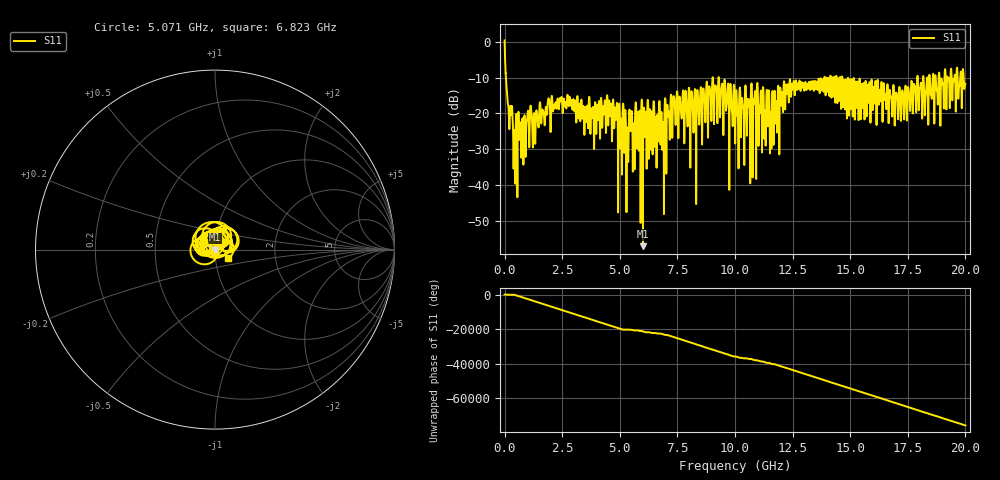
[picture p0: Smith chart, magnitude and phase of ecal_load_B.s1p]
! MS46122B
! 2250307/22442219
! 7/23/2025 7:46:51 AM
! C:\USERS\SPARKY\DOCUMENTS\VNA_DATA\JULY23_2025\3K\ECAL_LOAD_B.S1P
! CHANNEL.1
! TR.MEASUREMENT
! RAW.DATA
# GHZ S RI R 50.0
! FREQ.GHZ  S11RE  S11IM
!; PortSelection: Port_1
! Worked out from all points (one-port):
!   10001 points, 1 MHz to 20 GHz, reference 50 ohm
!   lowest |S11| = -57.2 dB at 6.005 GHz (marker M1), VSWR 1.00, Z = 50.1 - j0.101 ohm
!   |S11| at or under -10 dB: 57.46 MHz to 9.028 GHz (8.97 GHz wide, 197 % of centre); 9.3 GHz to 13.88 GHz (4.579 GHz wide, 39.5 % of centre); 14.66 GHz to 17.91 GHz (3.249 GHz wide, 19.9 % of centre) (the widest 3 of 24)
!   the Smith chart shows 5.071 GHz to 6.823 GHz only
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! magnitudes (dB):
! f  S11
! 1 MHz  0.4
! 143 MHz  -17.2
! 469 MHz  -33.4
! 1.073 GHz  -29.2
! 1.269 GHz  -20.4
! 1.869 GHz  -17.4
! 2.501 GHz  -17.7
! 3.807 GHz  -21.1
! 4.527 GHz  -17.2
! 5.001 GHz  -20.6
! 5.167 GHz  -19.3
! 5.283 GHz  -33.1
! 5.451 GHz  -21.9
! 6.005 GHz  -57.2
! 6.725 GHz  -16.6
! 6.845 GHz  -29.3
! 7.291 GHz  -21.5
! 7.501 GHz  -14.3
! 8.389 GHz  -14.6
! 9.101 GHz  -18.2
! 10 GHz  -22.8
! 10.08 GHz  -17.3
! 10.9 GHz  -17.0
! 11.59 GHz  -20.2
! 12.5 GHz  -13.2
! 15 GHz  -11.2
! 17.5 GHz  -13.0
! 20 GHz  -11.8
